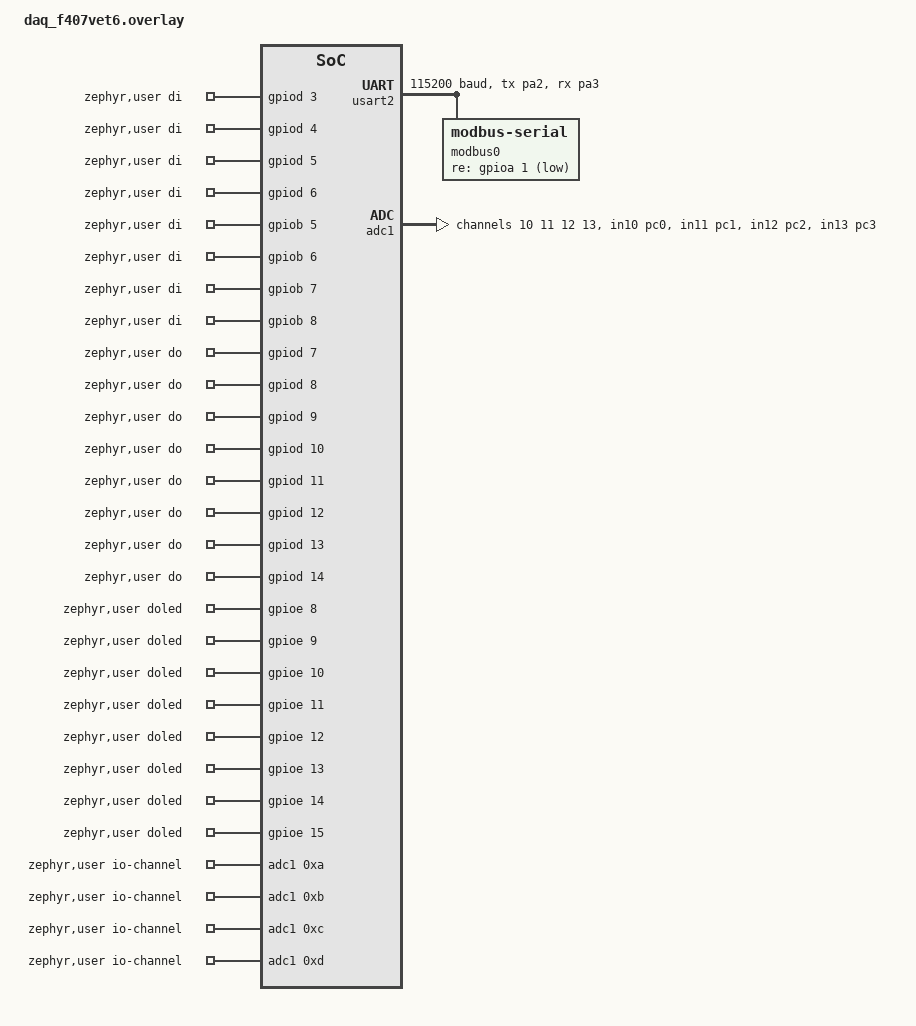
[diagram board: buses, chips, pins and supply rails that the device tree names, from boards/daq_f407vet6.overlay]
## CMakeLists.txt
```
# SPDX-License-Identifier: Apache-2.0

cmake_minimum_required(VERSION 3.20.0)

set(SNIPPET
  shell_en
  littlefs_flash
  ftp_server
)
list(APPEND SNIPPET_ROOT ${CMAKE_CURRENT_SOURCE_DIR})
find_package(Zephyr REQUIRED HINTS $ENV{ZEPHYR_BASE})
project(data-collect)

target_include_directories(app PRIVATE include)
target_sources(app PRIVATE src/main.c)
target_sources_ifdef(CONFIG_RTC app PRIVATE src/time.c)
target_sources_ifdef(CONFIG_FAT_FILESYSTEM_ELM app PRIVATE src/fs.c)
target_sources_ifdef(CONFIG_NETWORKING app PRIVATE src/net.c)
target_sources_ifdef(CONFIG_CAN_FW_UPGRADE app PRIVATE src/can.c)

add_subdirectory_ifdef(CONFIG_MODBUS src/modbus)
add_subdirectory_ifdef(CONFIG_FTP_SERVER src/ftp_server)

target_compile_options(app PRIVATE -U_POSIX_C_SOURCE -D_POSIX_C_SOURCE=200809L)
```

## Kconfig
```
menu "Data collect options"

config MODBUS_TCP_PRIORITY
	int "modbus tcp server priority"
	default 13
	help
	  Use this to set modbus tcp server priority

config MODBUS_RTU_PRIORITY
	int "modbus rtu server priority"
	default 13
	help
	  Use this to set modbus rtu server priority

config MODBUS_ADC_PRIORITY
	int "modbus adc server priority"
	default 13
	help
	  Use this to set modbus adc server priority

config MODBUS_DIO_PRIORITY
	int "modbus dio server priority"
	default 13
	help
	  Use this to set modbus dio server priority

config DC_NET_PRIORITY
	int "network init task priority"
	default 13
	help
	  Use this to set network init priority

config DC_CAN_INIT_PRIORITY
	int "CAN config handler init priority"
	default 60
	help
	  SYS_INIT priority for registering the CAN business-frame handler.
	  Must run before the can_fw_upgrade RX thread starts processing.

config FTP_PRIORITY
	int "ftp server priority"
	default 13
	help
	  Use this to set ftp server priority

config UDP_PRIORITY
	int "udp server priority"
	default 13
	help
	  Use this to set udp server priority

config MODBUS_TCP_STACK_SIZE
	int "modbus tcp server stack size"
	default 2048
	help
	  Use this to set modbus tcp server stack size

config MODBUS_ADC_STACK_SIZE
	int "modbus adc server stack size"
	default 512
	help
	  Use this to set modbus adc server stack size

config MODBUS_DIO_STACK_SIZE
	int "modbus adc server stack size"
	default 512
	help
	  Use this to set modbus adc server stack size

config MODBUS_RTU_STACK_SIZE
	int "modbus rtu server stack size"
	default 1024
	help
	  Use this to set modbus rtu server stack size

config DC_NET_STACK_SIZE
	int "network init stack size"
	default 1024
	help
	  Use this to set network init stack size

config DC_UDP_CMD_INIT_PRIORITY
	int "udp command handler init priority"
	default 10
	help
	  SYS_INIT priority for registering the UDP business-config command
	  handler. Must run before the udp_fw_upgrade RX thread processes
	  commands (network up).

config FTP_STACK_SIZE
	int "FTP server stack size"
	default 2048
	help
	  Use this to set ftp server stack size

config UDP_STACK_SIZE
	int "UDP server stack size"
	default 2048
	help
	  Use this to set udp server stack size

config MODBUS_COLS_REGISTER_NUMBERS
	int "modbus cols register numbers"
	default 8
	help
	  Use this to set modbus cols register numbers

config MODBUS_INPUT_REGISTER_NUMBERS
	int "modbus input register numbers"
	default 6
	help
	  Use this to set modbus input register numbers

config MODBUS_HOLDING_REGISTER_NUMBERS
	int "modbus HOLDING register numbers"
	default 23
	help
	  Use this to set modbus holding register numbers

config FTP_SERVER 
	bool "ftp server"
	select NET_CONTEXT_SNDTIMEO
	help
	  ftp server

endmenu

module = MODBUS_APP
module-str = modbus_app
source "subsys/logging/Kconfig.template.log_config"

source "Kconfig.zephyr"
```

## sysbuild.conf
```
SB_CONFIG_BOOTLOADER_MCUBOOT=y
SB_CONFIG_MCUBOOT_MODE_SWAP_SCRATCH=y
SB_CONFIG_BOOT_SIGNATURE_KEY_FILE="${APP_DIR}/boards/rsa_mcuboot_2048_${BOARD}.pem"
```

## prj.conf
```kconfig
# log
CONFIG_LOG=y
CONFIG_LOG_BUFFER_SIZE=1024
CONFIG_LOG_OUTPUT_FORMAT_DATE_TIMESTAMP=y

CONFIG_POSIX_API=y
CONFIG_MAIN_STACK_SIZE=2048

# libc: 应用不使用 malloc（ftp_server 改用 k_mem_slab），关闭 heap arena
CONFIG_COMMON_LIBC_MALLOC_ARENA_SIZE=0

# modbus
CONFIG_MODBUS=y
CONFIG_MODBUS_ROLE_SERVER=y
CONFIG_MODBUS_RAW_ADU=y
CONFIG_MODBUS_NUMOF_RAW_ADU=1
CONFIG_MODBUS_ROLE_SERVER=y

# adc
CONFIG_ADC=y

# CAN firmware upgrade library (self-contained: owns CAN controller + RX thread)
CONFIG_CAN_FW_UPGRADE=y
CONFIG_CAN_FW_UPGRADE_RX_STACK_SIZE=1024

# UDP firmware upgrade library (self-contained: owns config port, default 8600)
CONFIG_UDP_FW_UPGRADE=y
CONFIG_UDP_FW_RX_STACK_SIZE=1536

# Networking config
CONFIG_NETWORKING=y
CONFIG_NET_IPV4=y
CONFIG_NET_IPV6=n
CONFIG_NET_TCP=y
CONFIG_NET_UDP=y
CONFIG_NET_SOCKETS=y
CONFIG_NET_MAX_CONN=15
CONFIG_NET_MAX_CONTEXTS=15
CONFIG_ZVFS_POLL_MAX=20
CONFIG_NET_BUF_DATA_SIZE=512
CONFIG_NET_BUF_RX_COUNT=8
CONFIG_NET_BUF_TX_COUNT=8
CONFIG_NET_MGMT=y
CONFIG_NET_MGMT_EVENT=y
CONFIG_NET_DHCPV4=y
CONFIG_EVENTS=y

# settings
CONFIG_FCB=y
CONFIG_SETTINGS=y
CONFIG_SETTINGS_RUNTIME=y

# flash / MCUBoot (firmware upgrade images, UDP/CAN fw libs)
CONFIG_FLASH=y
CONFIG_FLASH_MAP=y
CONFIG_IMG_MANAGER=y
CONFIG_STREAM_FLASH=y
CONFIG_REBOOT=y
CONFIG_BOOTLOADER_MCUBOOT=y

# CRC (UDP fw image crc) + entropy
CONFIG_CRC=y
CONFIG_ENTROPY_GENERATOR=y

CONFIG_SYSTEM_WORKQUEUE_STACK_SIZE=2048
```

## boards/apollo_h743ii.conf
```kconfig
# networking
CONFIG_NETWORKING=y
CONFIG_TEST_RANDOM_GENERATOR=y
CONFIG_NET_CONNECTION_MANAGER=y
CONFIG_ETH_DRIVER=y
CONFIG_NET_L2_ETHERNET=y
CONFIG_NET_ARP=y
CONFIG_NET_IPV4_IGMP=y
CONFIG_NET_BUF_DATA_SIZE=512

# CAN
CONFIG_CAN=y
CONFIG_CAN_SHELL=y
CONFIG_NET_L2_CANBUS_RAW=y
CONFIG_NET_DRIVERS=y
CONFIG_NET_CANBUS=y
```

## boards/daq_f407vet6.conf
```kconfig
# networking
CONFIG_TEST_RANDOM_GENERATOR=y
CONFIG_NET_CONNECTION_MANAGER=y
CONFIG_ETH_DRIVER=y
CONFIG_NET_L2_ETHERNET=y
CONFIG_NET_ARP=y
CONFIG_NET_IPV4_IGMP=y
```

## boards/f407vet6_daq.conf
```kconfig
# networking
CONFIG_TEST_RANDOM_GENERATOR=y
CONFIG_NET_CONNECTION_MANAGER=y
CONFIG_ETH_DRIVER=y
CONFIG_NET_L2_ETHERNET=y
CONFIG_NET_ARP=y
CONFIG_NET_IPV4_IGMP=y

# CAN
CONFIG_CAN=y
CONFIG_CAN_SHELL=y
```

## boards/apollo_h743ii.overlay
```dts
/{
	zephyr,user {
		phy-reset-gpios = <&i2c2_pcf8574 7 GPIO_ACTIVE_HIGH>;
		beep-gpios = <&i2c2_pcf8574 0 GPIO_ACTIVE_HIGH>;
		di-gpios = <&gpiob 0 GPIO_ACTIVE_HIGH>,
							 <&gpiob 1 GPIO_ACTIVE_HIGH>;

		do-gpios = <&gpiob 0 GPIO_ACTIVE_HIGH>,
							 <&gpiob 1 GPIO_ACTIVE_HIGH>;
		doled-gpios = <&gpiob 0 GPIO_ACTIVE_HIGH>,
									<&gpiob 1 GPIO_ACTIVE_HIGH>;

		io-channels = <&adc1 0x13>, <&adc1 0x3>;
	};
};

&adc1 {
	pinctrl-0 = < &adc1_inp19_pa5 &adc1_inp3_pa6>;
	pinctrl-names = "default";
	st,adc-clock-source = "SYNC";
	st,adc-prescaler = <4>;
	status = "okay";
	#address-cells = <1>;
	#size-cells = <0>;
	channel@13 {
		reg = <0x13>;
		zephyr,gain = "ADC_GAIN_1";
		zephyr,reference = "ADC_REF_INTERNAL";
		zephyr,acquisition-time = <ADC_ACQ_TIME_DEFAULT>;
		zephyr,resolution = <12>;
	};

	channel@3 {
		reg = <0x3>;
		zephyr,gain = "ADC_GAIN_1";
		zephyr,reference = "ADC_REF_INTERNAL";
		zephyr,acquisition-time = <ADC_ACQ_TIME_DEFAULT>;
		zephyr,resolution = <12>;
	};
};

&fdcan1 {
	pinctrl-0 = <&fdcan1_rx_pa11 &fdcan1_tx_pa12>;
	pinctrl-names = "default";
	status = "okay";
};
```

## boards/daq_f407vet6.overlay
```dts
/{
	zephyr,user {
		di-gpios = <&gpiod 3 GPIO_ACTIVE_HIGH>,
							 <&gpiod 4 GPIO_ACTIVE_HIGH>,
							 <&gpiod 5 GPIO_ACTIVE_HIGH>,
							 <&gpiod 6 GPIO_ACTIVE_HIGH>,
							 <&gpiob 5 GPIO_ACTIVE_HIGH>,
							 <&gpiob 6 GPIO_ACTIVE_HIGH>,
							 <&gpiob 7 GPIO_ACTIVE_HIGH>,
							 <&gpiob 8 GPIO_ACTIVE_HIGH>,
							 <&gpiob 9 GPIO_ACTIVE_HIGH>,
							 <&gpiob 10 GPIO_ACTIVE_HIGH>,
							 <&gpiob 11 GPIO_ACTIVE_HIGH>,
							 <&gpiod 2 GPIO_ACTIVE_HIGH>,
							 <&gpiob 0 GPIO_ACTIVE_HIGH>,
							 <&gpiob 1 GPIO_ACTIVE_HIGH>,
							 <&gpiob 3 GPIO_ACTIVE_HIGH>,
							 <&gpiob 4 GPIO_ACTIVE_HIGH>;

		do-gpios = <&gpiod 7 GPIO_ACTIVE_HIGH>,
							 <&gpiod 8 GPIO_ACTIVE_HIGH>,
							 <&gpiod 9 GPIO_ACTIVE_HIGH>,
							 <&gpiod 10 GPIO_ACTIVE_HIGH>,
							 <&gpiod 11 GPIO_ACTIVE_HIGH>,
							 <&gpiod 12 GPIO_ACTIVE_HIGH>,
							 <&gpiod 13 GPIO_ACTIVE_HIGH>,
							 <&gpiod 14 GPIO_ACTIVE_HIGH>;

		doled-gpios = <&gpioe 8 GPIO_ACTIVE_HIGH>,
		              <&gpioe 9 GPIO_ACTIVE_HIGH>,
		              <&gpioe 10 GPIO_ACTIVE_HIGH>,
		              <&gpioe 11 GPIO_ACTIVE_HIGH>,
		              <&gpioe 12 GPIO_ACTIVE_HIGH>,
		              <&gpioe 13 GPIO_ACTIVE_HIGH>,
		              <&gpioe 14 GPIO_ACTIVE_HIGH>,
		              <&gpioe 15 GPIO_ACTIVE_HIGH>;

		io-channels = <&adc1 0xa>, <&adc1 0xb>, <&adc1 0xc>, <&adc1 0xd>;
	};
};

&usart2 {
	pinctrl-0 = <&usart2_tx_pa2 &usart2_rx_pa3>;
	pinctrl-names = "default";
	current-speed = <115200>;
	status = "okay";

	modbus0 {
		compatible = "zephyr,modbus-serial";
		status = "okay";
		re-gpios = <&gpioa 1 GPIO_ACTIVE_LOW>;
	};
};

&adc1 {
	pinctrl-0 = < &adc1_in10_pc0 &adc1_in11_pc1 &adc1_in12_pc2 &adc1_in13_pc3>;
	pinctrl-names = "default";
	st,adc-clock-source = <SYNC>;
	st,adc-prescaler = <4>;
	status = "okay";
	#address-cells = <1>;
	#size-cells = <0>;
	channel@a {
		reg = <0xa>;
		zephyr,gain = "ADC_GAIN_1";
		zephyr,reference = "ADC_REF_INTERNAL";
		zephyr,acquisition-time = <ADC_ACQ_TIME_DEFAULT>;
		zephyr,resolution = <12>;
	};

	channel@b {
		reg = <0xb>;
		zephyr,gain = "ADC_GAIN_1";
		zephyr,reference = "ADC_REF_INTERNAL";
		zephyr,acquisition-time = <ADC_ACQ_TIME_DEFAULT>;
		zephyr,resolution = <12>;
	};

	channel@c {
		reg = <0xc>;
		zephyr,gain = "ADC_GAIN_1";
		zephyr,reference = "ADC_REF_INTERNAL";
		zephyr,acquisition-time = <ADC_ACQ_TIME_DEFAULT>;
		zephyr,resolution = <12>;
	};

	channel@d {
		reg = <0xd>;
		zephyr,gain = "ADC_GAIN_1";
		zephyr,reference = "ADC_REF_INTERNAL";
		zephyr,acquisition-time = <ADC_ACQ_TIME_DEFAULT>;
		zephyr,resolution = <12>;
	};

};
```

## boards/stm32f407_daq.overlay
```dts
/{
	zephyr,user {
		di-gpios = <&gpiod 3 GPIO_ACTIVE_HIGH>,
							 <&gpiod 4 GPIO_ACTIVE_HIGH>,
							 <&gpiod 5 GPIO_ACTIVE_HIGH>,
							 <&gpiod 6 GPIO_ACTIVE_HIGH>,
							 <&gpiob 5 GPIO_ACTIVE_HIGH>,
							 <&gpiob 6 GPIO_ACTIVE_HIGH>,
							 <&gpiob 7 GPIO_ACTIVE_HIGH>,
							 <&gpiob 8 GPIO_ACTIVE_HIGH>,
							 <&gpiob 9 GPIO_ACTIVE_HIGH>,
							 <&gpiob 10 GPIO_ACTIVE_HIGH>,
							 <&gpiob 11 GPIO_ACTIVE_HIGH>,
							 <&gpiod 2 GPIO_ACTIVE_HIGH>,
							 <&gpiob 0 GPIO_ACTIVE_HIGH>,
							 <&gpiob 1 GPIO_ACTIVE_HIGH>,
							 <&gpiob 3 GPIO_ACTIVE_HIGH>,
							 <&gpiob 4 GPIO_ACTIVE_HIGH>;

		do-gpios = <&gpiod 7 GPIO_ACTIVE_HIGH>,
							 <&gpiod 8 GPIO_ACTIVE_HIGH>,
							 <&gpiod 9 GPIO_ACTIVE_HIGH>,
							 <&gpiod 10 GPIO_ACTIVE_HIGH>,
							 <&gpiod 11 GPIO_ACTIVE_HIGH>,
							 <&gpiod 12 GPIO_ACTIVE_HIGH>,
							 <&gpiod 13 GPIO_ACTIVE_HIGH>,
							 <&gpiod 14 GPIO_ACTIVE_HIGH>;

		doled-gpios = <&gpioe 8 GPIO_ACTIVE_HIGH>,
		              <&gpioe 9 GPIO_ACTIVE_HIGH>,
		              <&gpioe 10 GPIO_ACTIVE_HIGH>,
		              <&gpioe 11 GPIO_ACTIVE_HIGH>,
		              <&gpioe 12 GPIO_ACTIVE_HIGH>,
		              <&gpioe 13 GPIO_ACTIVE_HIGH>,
		              <&gpioe 14 GPIO_ACTIVE_HIGH>,
		              <&gpioe 15 GPIO_ACTIVE_HIGH>;

		io-channels = <&adc1 0xa>, <&adc1 0xb>, <&adc1 0xc>, <&adc1 0xd>;
	};
};

&usart2 {
	pinctrl-0 = <&usart2_tx_pa2 &usart2_rx_pa3>;
	pinctrl-names = "default";
	current-speed = <115200>;
	status = "okay";

	modbus0 {
		compatible = "zephyr,modbus-serial";
		status = "okay";
		re-gpios = <&gpioa 1 GPIO_ACTIVE_LOW>;
	};
};

&adc1 {
	pinctrl-0 = < &adc1_in10_pc0 &adc1_in11_pc1 &adc1_in12_pc2 &adc1_in13_pc3>;
	pinctrl-names = "default";
	st,adc-clock-source = "SYNC";
	st,adc-prescaler = <4>;
	status = "okay";
	#address-cells = <1>;
	#size-cells = <0>;
	channel@a {
		reg = <0xa>;
		zephyr,gain = "ADC_GAIN_1";
		zephyr,reference = "ADC_REF_INTERNAL";
		zephyr,acquisition-time = <ADC_ACQ_TIME_DEFAULT>;
		zephyr,resolution = <12>;
	};

	channel@b {
		reg = <0xb>;
		zephyr,gain = "ADC_GAIN_1";
		zephyr,reference = "ADC_REF_INTERNAL";
		zephyr,acquisition-time = <ADC_ACQ_TIME_DEFAULT>;
		zephyr,resolution = <12>;
	};

	channel@c {
		reg = <0xc>;
		zephyr,gain = "ADC_GAIN_1";
		zephyr,reference = "ADC_REF_INTERNAL";
		zephyr,acquisition-time = <ADC_ACQ_TIME_DEFAULT>;
		zephyr,resolution = <12>;
	};

	channel@d {
		reg = <0xd>;
		zephyr,gain = "ADC_GAIN_1";
		zephyr,reference = "ADC_REF_INTERNAL";
		zephyr,acquisition-time = <ADC_ACQ_TIME_DEFAULT>;
		zephyr,resolution = <12>;
	};

};
```

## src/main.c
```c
#include <zephyr/kernel.h>
#include <zephyr/app_version.h>
#include <zephyr/drivers/gpio.h>
#include <zephyr/sys/reboot.h>
#include <zephyr/logging/log_ctrl.h>
#include <zephyr/logging/log.h>
LOG_MODULE_REGISTER(modbus_main, CONFIG_MODBUS_APP_LOG_LEVEL);
static bool need_reboot;
static bool get_reboot_status(void)
{
	return need_reboot;
}
void set_reboot_status(bool val)
{
	need_reboot = true;
}

/* reboot if stack overflow */
void k_sys_fatal_error_handler(unsigned int reason, const struct arch_esf *pEsf)
{
	if (reason == K_ERR_STACK_CHK_FAIL) {
		sys_reboot(SYS_REBOOT_WARM);
	}
}

int main(void)
{
	const struct gpio_dt_spec status_gpios = GPIO_DT_SPEC_GET(DT_ALIAS(mcuboot_led0), gpios);

	gpio_pin_configure_dt(&status_gpios, GPIO_OUTPUT_INACTIVE);
	LOG_INF("build time: %s-%s, board: %s, system clk: %dMHz, version: %s", __DATE__, __TIME__,
		CONFIG_BOARD_TARGET, CONFIG_SYS_CLOCK_HW_CYCLES_PER_SEC / 1000000,
		APP_VERSION_STRING);
	need_reboot = false;
	while (1) {
		gpio_pin_set_dt(&status_gpios, 0);
		k_msleep(2700);
		gpio_pin_set_dt(&status_gpios, 1);
		k_msleep(300);
		if (get_reboot_status()) {
			LOG_INF("rebooting...");
			while (log_process() == true)
				;
			k_msleep(1000);
			sys_reboot(SYS_REBOOT_COLD);
		}
	}
	return 0;
}
```

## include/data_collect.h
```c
/*
 * SPDX-License-Identifier: Apache-2.0
 *
 * data_collect — 公共定义 (协议契约)
 *
 * 数据采集 (DI / DO / AI) 通过 Modbus RTU (RS485) + Modbus TCP (Raw ADU)
 * 对外提供; 历史数据落盘 littlefs; 参数配置通过 UDP 配置端口 (由
 * udp_fw_upgrade 库自管, 默认 8600) 以 gateway 风格二进制命令帧下发;
 * 固件升级支持 UDP (8600) 与 CAN (0x101-0x105) 双通道, 分别复用
 * libs/udp_fw_upgrade 与 libs/can_fw_upgrade。
 */

#ifndef __DATA_COLLECT_H__
#define __DATA_COLLECT_H__

#include <zephyr/kernel.h>
#include <zephyr/net/net_ip.h>
#include <stdbool.h>
#include <stdint.h>

/* ================================================================
 * UDP 配置命令 (配置端口, 由 udp_fw_upgrade 库 RX 线程分发到 app_cmd_handler).
 * 0x01-0x05 由库内部处理 (FW_START/END/DATA/GET_VERSION/REBOOT), 不会到达此处.
 * 帧格式 [cmd 1B][data...], 与 gateway 上位机协议同构.
 *
 * 网络: 静态模式下掩码固定 255.255.255.0, 网关 = IP 末段改 1 (a.b.c.1),
 *       均不在帧中传输. DHCP 模式下 IP/掩码/网关由 DHCP 服务器分配,
 *       GET_NET 回复 live interface 地址.
 * 端口: 此处 "tcp_port" 指 Modbus TCP 服务端口 (默认 502).
 * ================================================================ */
enum udp_cmd {
	UDP_CMD_SET_NET      = 0x12,  /* [ip 4B][tcp_port 2B BE] = 6B → 回显 6B */
	UDP_CMD_GET_NET      = 0x13,  /* () → [ip 4B][tcp_port 2B BE] = 6B (IP 取 live) */
	UDP_CMD_SET_NET_MODE = 0x16,  /* [mode 1B] (0=静态,1=DHCP) → 回显 1B (重启生效) */
	UDP_CMD_GET_NET_MODE = 0x17,  /* () → [mode 1B] */

	UDP_CMD_SET_MODBUS   = 0x18,  /* [slave_id 2B BE][rs485_bps 4B BE] = 6B → 回显 6B */
	UDP_CMD_GET_MODBUS   = 0x19,  /* () → [slave_id 2B BE][rs485_bps 4B BE] = 6B */

	UDP_CMD_SET_SAMPLE   = 0x1A,  /* [di_si 2B BE][ai_si 2B BE][his_en 1B] = 5B → 回显 5B */
	UDP_CMD_GET_SAMPLE   = 0x1B,  /* () → [di_si 2B BE][ai_si 2B BE][his_en 1B] = 5B */

	UDP_CMD_SET_CAN      = 0x1C,  /* [can_id 2B BE][can_bps 2B BE] = 4B → 回显 4B */
	UDP_CMD_GET_CAN      = 0x1D,  /* () → [can_id 2B BE][can_bps 2B BE] = 4B */

	UDP_CMD_SET_HEART    = 0x1E,  /* [heart_en 1B][heart_timeout 2B BE] = 3B → 回显 3B */
	UDP_CMD_GET_HEART    = 0x1F,  /* () → [heart_en 1B][heart_timeout 2B BE] = 3B */

	UDP_CMD_SET_TIME     = 0x20,  /* [timestamp 4B BE] → 回显 4B (立即生效) */
	UDP_CMD_GET_INFO     = 0x21,  /* () → [version 4B BE][uptime 4B BE] = 8B */
};

/* ================================================================
 * CAN 业务帧
 *   0x101-0x105 由 can_fw_upgrade 库内部处理 (固件升级 + keyhash + 版本字符串)
 *   0x763     DAQ 周期心跳帧 (device → host)
 *   0x1A0     CAN 参数配置命令 (host → device): [sub 1B][payload ≤7B]
 *   0x1A1     CAN 参数配置响应 (device → host): [sub 1B][seq 1B][payload ≤6B]
 * 其中 sub 复用 enum udp_cmd 的取值 (0x12-0x21), 使 CAN/UDP 命令语义一致;
 * 响应 >6B 时按 seq 分帧 (0,1,...), 其余单帧 seq=0。
 * ================================================================ */
#define DC_CAN_HEARTBEAT    0x763
#define DC_CAN_CFG_CMD      0x1A0
#define DC_CAN_CFG_RESP     0x1A1

/* ================================================================
 * 网络默认配置 (参数以 holding 寄存器为准, 默认值见 modbus/init.c)
 * ================================================================ */
#define DC_DEFAULT_TCP_PORT 502     /* Modbus TCP 默认端口 (HOLDING_TCP_PORT_IDX) */
#define DC_NET_MODE_STATIC  0       /* 静态 IP */
#define DC_NET_MODE_DHCP    1

/* ================================================================
 * 网络状态
 * ================================================================ */
/* 网络链路状态 (net.c 的 NET_EVENT_IF_UP/DOWN 回调维护). */
extern volatile bool dc_net_link_up;

/* 接口声明 */

/* net.c: 取本机 live IPv4 地址 (DHCP 分配或静态配置的当前地址), 失败返回 NULL. */
struct in_addr *dc_get_live_ipv4(void);

/* net.c: 等待网络就绪 (接口 + IP 配置完成), 返回后即可创建 socket bind. */
void dc_net_wait_ready(void);

/* udp.c: 执行配置命令 (SET_* 施加副作用 + 生成 GET_* 响应字节).
 * UDP 侧经由 udp_fw_reply() 回复; CAN 侧 (can.c) 按帧协议分帧复用.
 * 返回响应字节数 (0-8), 未知命令返回 -1. */
int dc_build_config_payload(uint8_t cmd, const uint8_t *req, size_t req_len,
			    uint8_t *out, size_t out_len);

#endif /* __DATA_COLLECT_H__ */
```

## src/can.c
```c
/*
 * SPDX-License-Identifier: Apache-2.0
 *
 * CAN 业务侧: 固件升级由 can_fw_upgrade 库自管 (0x101-0x105, 含 keyhash 与
 * 版本字符串), 本模块仅:
 *   - 注册业务帧回调: 处理 CAN 参数配置帧 DC_CAN_CFG_CMD (0x1A0), 复用
 *     dc_build_config_payload() 施加参数设置并回 DC_CAN_CFG_RESP (0x1A1);
 *   - 周期上报状态帧 DC_CAN_HEARTBEAT (0x763), 供上位机确认节点存活.
 *
 * CAN 配置命令帧 (0x1A0):   [sub 1B][payload ≤7B]    (sub 复用 enum udp_cmd)
 * CAN 配置响应帧 (0x1A1):   [sub 1B][seq 1B][payload ≤6B]  (payload>6B 分帧)
 */

#include <zephyr/kernel.h>
#include <zephyr/app_version.h>
#include <zephyr/drivers/can.h>
#include <zephyr/sys/byteorder.h>
#include <zephyr/logging/log.h>
#include <data_collect.h>
#include <can_fw_upgrade.h>
#define DC_NO_MODBUS_LOG_MODULE
#include "modbus/init.h"

LOG_MODULE_REGISTER(dc_can, LOG_LEVEL_INF);

static const struct device *can_dev;

/* ================================================================
 * CAN 发送
 * ================================================================ */
static void dc_cantx_callback(const struct device *dev, int error, void *user_data)
{
	ARG_UNUSED(dev);
	ARG_UNUSED(user_data);

	if (error) {
		LOG_ERR("CAN tx error: %d", error);
	}
}

static int dc_can_send(struct can_frame *frame)
{
	if (!can_dev) {
		return -ENODEV;
	}
	return can_send(can_dev, frame, K_MSEC(100), dc_cantx_callback, NULL);
}

/* ================================================================
 * 周期状态帧 0x763: [version 2B BE][di 2B BE][do 1B][reserved 3B]
 * ================================================================ */
static void dc_can_heart_thread(void *p1, void *p2, void *p3)
{
	ARG_UNUSED(p1);
	ARG_UNUSED(p2);
	ARG_UNUSED(p3);

	struct can_frame frame = {
		.id = DC_CAN_HEARTBEAT,
		.dlc = can_bytes_to_dlc(8),
	};

	while (1) {
		k_sleep(K_SECONDS(1));

		uint16_t ver = (APP_VERSION_MAJOR << 8) | APP_VERSION_MINOR;
		uint16_t di = get_input_reg(INPUT_DI_IDX);

		sys_put_be16(ver, frame.data);
		sys_put_be16(di, frame.data + 2);
		frame.data[4] = get_holding_reg(HOLDING_DO_IDX) & 0xff;
		memset(frame.data + 5, 0, 3);

		if (dc_can_send(&frame) != 0) {
			LOG_DBG("can heartbeat send failed");
		}
	}
}

K_THREAD_DEFINE(dc_can_heart, 512, dc_can_heart_thread, NULL, NULL, NULL, 12, 0, 0);

/* ================================================================
 * 配置响应分帧发送 (0x1A1): [sub 1][seq 1][payload ≤6B]
 * ================================================================ */
static void can_send_config_resp(uint8_t sub, const uint8_t *payload, int len)
{
	uint8_t off = 0;
	uint8_t seq = 0;

	do {
		uint8_t chunk = MIN(len - off, 6);
		struct can_frame frame = {
			.id = DC_CAN_CFG_RESP,
			.dlc = can_bytes_to_dlc(8),
		};

		frame.data[0] = sub;
		frame.data[1] = seq;
		memcpy(&frame.data[2], payload + off, chunk);
		memset(&frame.data[2 + chunk], 0, 6 - chunk);
		dc_can_send(&frame);
		off += chunk;
		seq++;
	} while (off < len);
}

/* ================================================================
 * 业务帧回调 (库 RX 线程调用)
 * ================================================================ */
static bool dc_can_app_rx(struct can_frame *frame, void *user_data)
{
	ARG_UNUSED(user_data);

	if (frame->id == DC_CAN_CFG_CMD) {
		uint8_t sub = frame->data[0];
		uint8_t req[7];
		uint8_t resp[8];

		if (can_dlc_to_bytes(frame->dlc) < 2) {
			return true;
		}
		uint8_t req_len = MIN(can_dlc_to_bytes(frame->dlc) - 1, sizeof(req));

		memcpy(req, &frame->data[1], req_len);
		int rlen = dc_build_config_payload(sub, req, req_len, resp, sizeof(resp));

		if (rlen >= 0) {
			can_send_config_resp(sub, resp, rlen);
			LOG_INF("CAN cfg: sub=0x%02x rlen=%d", sub, rlen);
		} else {
			LOG_WRN("CAN cfg: unknown sub 0x%02x", sub);
		}
		return true;
	}

	return false;
}

static int dc_can_init(void)
{
	can_dev = can_fw_set_app_handler(dc_can_app_rx, NULL);
	return 0;
}

SYS_INIT(dc_can_init, APPLICATION, CONFIG_DC_CAN_INIT_PRIORITY);
```

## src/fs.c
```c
#include <zephyr/kernel.h>
#include <zephyr/fs/fs.h>

#include <zephyr/logging/log.h>
LOG_MODULE_REGISTER(app_mount, LOG_LEVEL_INF);
#include <ff.h>

#ifdef CONFIG_FS_FATFS_HAS_RTC
#include <time.h>
DWORD get_fattime(void)
{
	time_t unix_time = time(NULL);
	struct tm *cal;

	/* Convert to calendar time */
	cal = localtime(&unix_time);

	/* From http://elm-chan.org/fsw/ff/doc/fattime.html */
	return (DWORD)(cal->tm_year - 80) << 25 | (DWORD)(cal->tm_mon + 1) << 21 |
	       (DWORD)cal->tm_mday << 16 | (DWORD)cal->tm_hour << 11 | (DWORD)cal->tm_min << 5 |
	       (DWORD)cal->tm_sec >> 1;
}
#endif

static FATFS _fat_fs;
/* mounting info */
static struct fs_mount_t fatfs_mnt = {
	.type = FS_FATFS,
	.fs_data = &_fat_fs,
	.mnt_point = "/" DT_PROP(DT_INST(0, zephyr_flash_disk), disk_name) ":",
};
static int _fs_mount_init(void)
{
	if (fs_mount(&fatfs_mnt)) {
		LOG_ERR("fs mount failed");
		return -1;
	}
	return 0;
}
SYS_INIT(_fs_mount_init, APPLICATION, 90);
```

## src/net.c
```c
/*
 * SPDX-License-Identifier: Apache-2.0
 *
 * 网络初始化 (静态 IP / DHCP) + 链路/地址事件管理.
 *
 * IP/端口/网络模式以 holding 寄存器为准 (modbus_init 在 APPLICATION 11
 * 载入默认值并 settings_load, 本线程在所有 SYS_INIT 完成、调度器启动后才
 * 运行, 故寄存器已就绪).
 *
 * 时序: 以太网接口在 boot 阶段注册, 本线程轮询等待接口出现;
 * 静态模式直接配置 IP 上使能; DHCP 模式等接口 oper up 后由 IF_UP 事件回调
 * 启动 DHCP, 再等 IPV4_ADDR_ADD 事件拿到租期地址. 就绪后置 NET_READY_EVENT,
 * 供 Modbus TCP 线程在 bind 前等待.
 */

#include <zephyr/kernel.h>
#include <zephyr/net/net_if.h>
#include <zephyr/net/net_l2.h>
#include <zephyr/net/net_mgmt.h>
#include <zephyr/net/net_event.h>
#include <zephyr/net/dhcpv4.h>
#include <zephyr/logging/log.h>
#include <data_collect.h>
#define DC_NO_MODBUS_LOG_MODULE
#include "modbus/init.h"

LOG_MODULE_REGISTER(dc_net, LOG_LEVEL_INF);

/* 网络就绪事件 (host: modbus TCP/server bind 前等待). 由本线程在网络配置完成后置位. */
#define DC_NET_READY_BIT 0x1
K_EVENT_DEFINE(dc_net_ready_event);

/* 链路状态: IF_UP 置 true, IF_DOWN 置 false. */
volatile bool dc_net_link_up;

static K_SEM_DEFINE(net_link_sem, 0, 1); /* 接口 link up   (IF_UP) */
static K_SEM_DEFINE(net_addr_sem, 0, 1);  /* IPv4 地址分配完成 (IPV4_ADDR_ADD) */

/* ================================================================
 * 网络事件回调 (静态注册, 编译时进 section).
 * ================================================================ */
static void net_if_event_handler(uint64_t mgmt_event, struct net_if *iface,
				 void *info, size_t info_length, void *user_data)
{
	ARG_UNUSED(info);
	ARG_UNUSED(info_length);
	ARG_UNUSED(user_data);

	if (mgmt_event == NET_EVENT_IF_UP) {
		LOG_INF("net link up");
		dc_net_link_up = true;
		k_sem_give(&net_link_sem);
		/* DHCP 模式: carrier up 后才启动 DHCP 客户端 (启动早了 Discover 发不出) */
		if (get_holding_reg(HOLDING_NET_MODE_IDX) == DC_NET_MODE_DHCP) {
			LOG_INF("Starting DHCPv4 client...");
			net_dhcpv4_start(iface);
		}
	} else if (mgmt_event == NET_EVENT_IF_DOWN) {
		LOG_WRN("net link down");
		dc_net_link_up = false;
	}
}

static void net_ipv4_event_handler(uint64_t mgmt, struct net_if *iface,
				   void *info, size_t info_length, void *user_data)
{
	ARG_UNUSED(info);
	ARG_UNUSED(info_length);
	ARG_UNUSED(user_data);

	if (mgmt != NET_EVENT_IPV4_ADDR_ADD) {
		return;
	}
	for (int i = 0; i < NET_IF_MAX_IPV4_ADDR; i++) {
		if (iface->config.ip.ipv4->unicast[i].ipv4.addr_type != NET_ADDR_DHCP &&
		    iface->config.ip.ipv4->unicast[i].ipv4.addr_type != NET_ADDR_MANUAL) {
			continue;
		}
		char buf[NET_IPV4_ADDR_LEN];

		net_addr_ntop(AF_INET,
			      &iface->config.ip.ipv4->unicast[i].ipv4.address.in_addr,
			      buf, sizeof(buf));
		LOG_INF("IPv4 address: %s", buf);
		k_sem_give(&net_addr_sem);
		return;
	}
}

NET_MGMT_REGISTER_EVENT_HANDLER(dc_net_if_handler_cb, NET_EVENT_IF_UP | NET_EVENT_IF_DOWN,
				net_if_event_handler, NULL);
NET_MGMT_REGISTER_EVENT_HANDLER(dc_net_ipv4_handler_cb, NET_EVENT_IPV4_ADDR_ADD,
				net_ipv4_event_handler, NULL);

/* ================================================================
 * 网络接口/地址
 * ================================================================ */
struct in_addr *dc_get_live_ipv4(void)
{
	struct net_if *iface = net_if_get_first_by_type(&NET_L2_GET_NAME(ETHERNET));

	if (!iface) {
		return NULL;
	}
	return (struct in_addr *)net_if_ipv4_get_global_addr(iface, NET_ADDR_PREFERRED);
}

void dc_net_wait_ready(void)
{
	k_event_wait(&dc_net_ready_event, DC_NET_READY_BIT, false, K_FOREVER);
}

/* 等待以太网接口注册 (boot 阶段完成, 轮询兜底) */
static struct net_if *wait_for_eth_iface(void)
{
	for (int i = 0; i < 100; i++) {
		struct net_if *iface = net_if_get_first_by_type(&NET_L2_GET_NAME(ETHERNET));

		if (iface != NULL) {
			return iface;
		}
		k_msleep(50);
	}
	return NULL;
}

/* 静态模式: 掩码固定 /24; 网关 = IP 末段改 1 (a.b.c.1), 不存储 */
static int net_setup_static(struct net_if *iface)
{
	char ip_str[NET_IPV4_ADDR_LEN];
	struct in_addr addr, mask, gw;

	addr.s_addr = 0;
	addr.s4_addr[0] = get_holding_reg(HOLDING_IP_ADDR_1_IDX);
	addr.s4_addr[1] = get_holding_reg(HOLDING_IP_ADDR_2_IDX);
	addr.s4_addr[2] = get_holding_reg(HOLDING_IP_ADDR_3_IDX);
	addr.s4_addr[3] = get_holding_reg(HOLDING_IP_ADDR_4_IDX);

	mask.s_addr = htonl(0xFFFFFF00);
	memcpy(&gw, &addr, sizeof(gw));
	((uint8_t *)&gw.s_addr)[3] = 1;

	if (net_if_ipv4_addr_add(iface, &addr, NET_ADDR_MANUAL, 0) == NULL) {
		LOG_ERR("cannot add ip to interface");
		return -1;
	}
	net_if_ipv4_set_netmask_by_addr(iface, &addr, &mask);
	net_if_ipv4_set_gw(iface, &gw);

	net_if_up(iface);

	net_addr_ntop(AF_INET, &addr, ip_str, sizeof(ip_str));
	LOG_INF("static net: %s/24 gw=...", ip_str);
	return 0;
}

static void dc_net_thread(void *p1, void *p2, void *p3)
{
	ARG_UNUSED(p1);
	ARG_UNUSED(p2);
	ARG_UNUSED(p3);

	struct net_if *iface = wait_for_eth_iface();

	if (!iface) {
		LOG_ERR("no ethernet interface found");
		return;
	}

	bool dhcp = (get_holding_reg(HOLDING_NET_MODE_IDX) == DC_NET_MODE_DHCP);
	int ret = dhcp ? 0 : net_setup_static(iface);

	if (ret == 0) {
		if (net_if_oper_state(iface) != NET_IF_OPER_UP) {
			if (k_sem_take(&net_link_sem, K_SECONDS(5)) != 0) {
				LOG_WRN("net link up timeout, continue anyway");
			}
		}
		if (dhcp) {
			/* DHCP 租约由 IF_UP 回调后的 DHCP 客户端获取, 等 ADDR_ADD */
			if (k_sem_take(&net_addr_sem, K_SECONDS(10)) != 0) {
				LOG_WRN("dhcp addr timeout");
			}
		}
	}

	k_event_set(&dc_net_ready_event, DC_NET_READY_BIT);
	LOG_INF("net ready");

	while (1) {
		k_sleep(K_SECONDS(1));
	}
}

K_THREAD_DEFINE(dc_net_thread_id, CONFIG_DC_NET_STACK_SIZE, dc_net_thread, NULL, NULL, NULL,
		CONFIG_DC_NET_PRIORITY, 0, 0);
```

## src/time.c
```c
#include <zephyr/kernel.h>
#include <zephyr/drivers/rtc.h>
#include <time.h>
#include <zephyr/logging/log_ctrl.h>

#include <zephyr/logging/log.h>
LOG_MODULE_REGISTER(time, LOG_LEVEL_INF);
static const struct device *rtc_dev = DEVICE_DT_GET(DT_NODELABEL(rtc));

#ifdef CONFIG_LOG
static log_timestamp_t sync_rtc_timestamp_get(void)
{
	return (log_timestamp_t)time(NULL);
}
#endif

void set_timestamp(time_t t)
{
	struct rtc_time *rt = (struct rtc_time *)gmtime(&t);
	struct timespec ts;

	rtc_set_time(rtc_dev, rt);

	time_t time_set = mktime((struct tm *)rt);

	ts.tv_sec = time_set;
	ts.tv_nsec = 0;

	if (clock_settime(CLOCK_REALTIME, &ts) < 0) {
		LOG_ERR("Failed to set clock time");
		return;
	}
}

int clock_init(void)
{
	struct timespec ts;
	struct rtc_time rt;

	rtc_get_time(rtc_dev, &rt);

	time_t time_set = mktime((struct tm *)&rt);

	ts.tv_sec = time_set;
	ts.tv_nsec = 0;

	if (clock_settime(CLOCK_REALTIME, &ts) < 0) {
		LOG_ERR("Failed to set clock time");
		return -1;
	}
#ifdef CONFIG_LOG
	log_set_timestamp_func(sync_rtc_timestamp_get,
			       1); // sys_clock_hw_cycles_per_sec());
#endif
	return 0;
}

SYS_INIT(clock_init, POST_KERNEL, 41);
```
